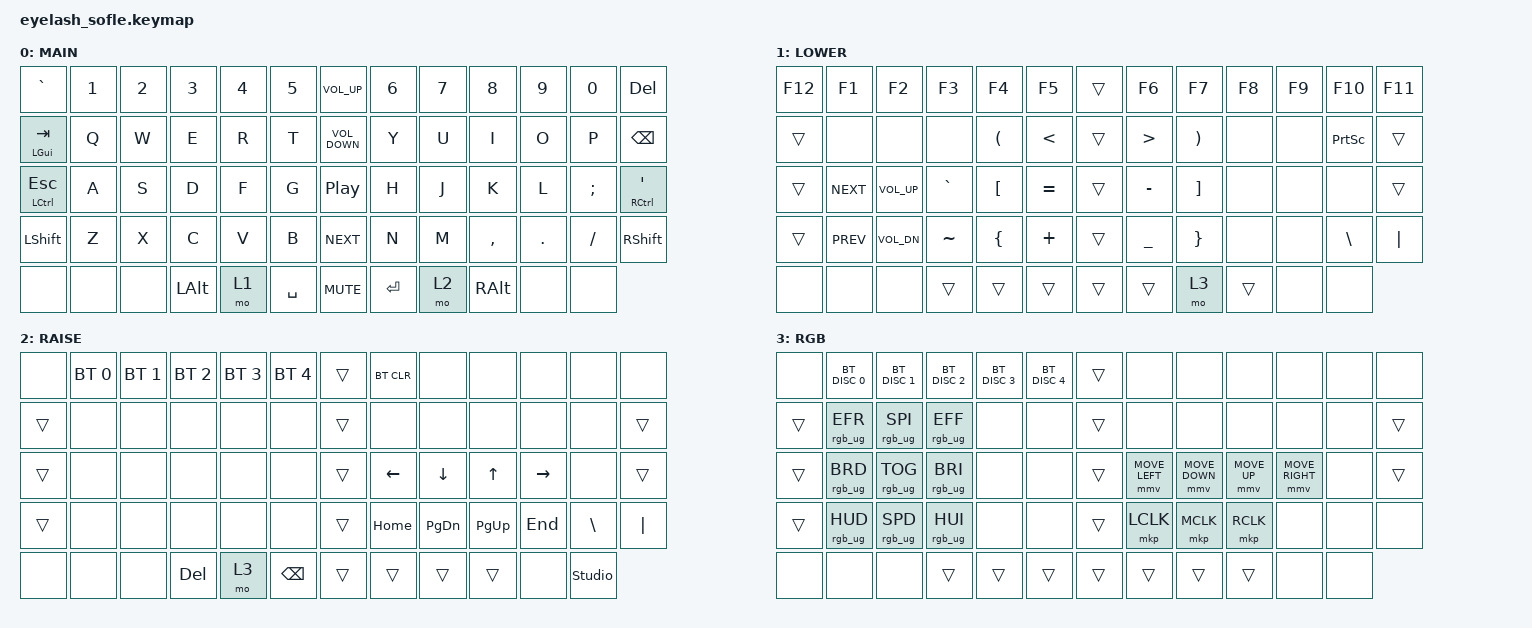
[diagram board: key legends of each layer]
// -*- mode: c; c-basic-offset: 4; tab-width: 4; indent-tabs-mode: nil; -*-
#include <dt-bindings/zmk/mouse.h>
#include <input/processors.dtsi>
#include <behaviors.dtsi>
#include <dt-bindings/zmk/bt.h>
#include <dt-bindings/zmk/keys.h>
#include <dt-bindings/zmk/pointing.h>
#include <dt-bindings/zmk/rgb.h>

#define ZMK_POINTING_DEFAULT_MOVE_VAL 900   // default: 600
#define ZMK_POINTING_DEFAULT_SCRL_VAL 20    // default: 10

/ {
    behaviors {
        mmv {
            acceleration-exponent = <1>;
            time-to-max-speed-ms = <900>;
            delay-ms = <0>;
        };

        msc {
            acceleration-exponent = <1>;
            time-to-max-speed-ms = <400>;
            delay-ms = <0>;
        };

        // Add this behavior for ZMK Studio
        studio_unlock: studio_unlock {
            compatible = "zmk,behavior-studio-unlock";
            label = "STUDIO_UNLOCK";
            #binding-cells = <0>;
        };
    };

    combos {
        compatible = "zmk,combos";
        require-prior-idle-ms = <50>;
        timeout-ms = <50>;

        // Layer 1 Media Combos
        combo_mute {                      // S+X = mute (layer 1 only)
            key-positions = <28 41>;      // S is 28, X is 41
            bindings = <&kp C_MUTE>;
            layers = <1>;
        };
        combo_play_pause {                // A+Z = play/pause (layer 1 only)
            key-positions = <27 40>;      // A is 27, Z is 40
            bindings = <&kp C_PLAY_PAUSE>;
            layers = <1>;
        };
    };

    keymap {
        compatible = "zmk,keymap";

        layer_0 {
            display-name = "MAIN";
            bindings = <
&kp GRAVE        &kp N1           &kp N2           &kp N3           &kp N4           &kp N5           &kp C_VOLUME_UP      &kp N6           &kp N7           &kp N8           &kp N9           &kp N0           &kp DELETE
&mt LGUI TAB     &kp Q            &kp W            &kp E            &kp R            &kp T            &kp C_VOLUME_DOWN    &kp Y            &kp U            &kp I            &kp O            &kp P            &kp BACKSPACE
&mt LCTRL ESC    &kp A            &kp S            &kp D            &kp F            &kp G            &kp C_PLAY_PAUSE     &kp H            &kp J            &kp K            &kp L            &kp SEMICOLON    &mt RCTRL SQT
&kp LSHIFT       &kp Z            &kp X            &kp C            &kp V            &kp B            &kp C_NEXT           &kp N            &kp M            &kp COMMA        &kp PERIOD       &kp FSLH         &kp RIGHT_SHIFT
&none            &none            &none            &kp LALT         &mo 1            &kp SPACE        &kp C_MUTE           &kp RETURN       &mo 2            &kp RALT         &none            &none
            >;
        };

        layer_1 {
            display-name = "LOWER";
            bindings = <
&kp F12          &kp F1           &kp F2           &kp F3           &kp F4           &kp F5           &trans               &kp F6           &kp F7           &kp F8           &kp F9           &kp F10          &kp F11
&trans           &none            &none            &none            &kp LPAR         &kp LT           &trans               &kp GT           &kp RPAR         &none            &none            &kp PSCRN        &trans
&trans           &kp C_NEXT       &kp C_VOL_UP     &kp GRAVE        &kp LBKT         &kp EQUAL        &trans               &kp MINUS        &kp RBKT         &none            &none            &none            &trans
&trans           &kp C_PREV       &kp C_VOL_DN     &kp TILDE        &kp LBRC         &kp PLUS         &trans               &kp UNDER        &kp RBRC         &none            &none            &kp BSLH         &kp PIPE
&none            &none            &none            &trans           &trans           &trans           &trans               &trans           &mo 3            &trans           &none            &none
            >;
        };

        layer_2 {
            display-name = "RAISE";
            bindings = <
&none            &bt BT_SEL 0     &bt BT_SEL 1     &bt BT_SEL 2     &bt BT_SEL 3     &bt BT_SEL 4     &trans               &bt BT_CLR       &none            &none            &none            &none            &none
&trans           &none            &none            &none            &none            &none            &trans               &none            &none            &none            &none            &none            &trans
&trans           &none            &none            &none            &none            &none            &trans               &kp LEFT         &kp DOWN         &kp UP           &kp RIGHT        &none            &trans
&trans           &none            &none            &none            &none            &none            &trans               &kp HOME         &kp PG_DN        &kp PG_UP        &kp END          &kp BSLH         &kp PIPE
&none            &none            &none            &kp DELETE       &mo 3            &kp BSPC         &trans               &trans           &trans           &trans           &none            &studio_unlock
            >;
        };

        layer_3 {
            display-name = "RGB";
            bindings = <
&none            &bt BT_DISC 0    &bt BT_DISC 1    &bt BT_DISC 2    &bt BT_DISC 3    &bt BT_DISC 4    &trans               &none            &none            &none            &none            &none            &none
&trans           &rgb_ug RGB_EFR  &rgb_ug RGB_SPI  &rgb_ug RGB_EFF  &none            &none            &trans               &none            &none            &none            &none            &none            &trans
&trans           &rgb_ug RGB_BRD  &rgb_ug RGB_TOG  &rgb_ug RGB_BRI  &none            &none            &trans               &mmv MOVE_LEFT   &mmv MOVE_DOWN   &mmv MOVE_UP     &mmv MOVE_RIGHT  &none            &trans
&trans           &rgb_ug RGB_HUD  &rgb_ug RGB_SPD  &rgb_ug RGB_HUI  &none            &none            &trans               &mkp LCLK        &mkp MCLK        &mkp RCLK        &none            &none            &none
&none            &none            &none            &trans           &trans           &trans           &trans               &trans           &trans           &trans           &none            &none
            >;
        };
    };
};
